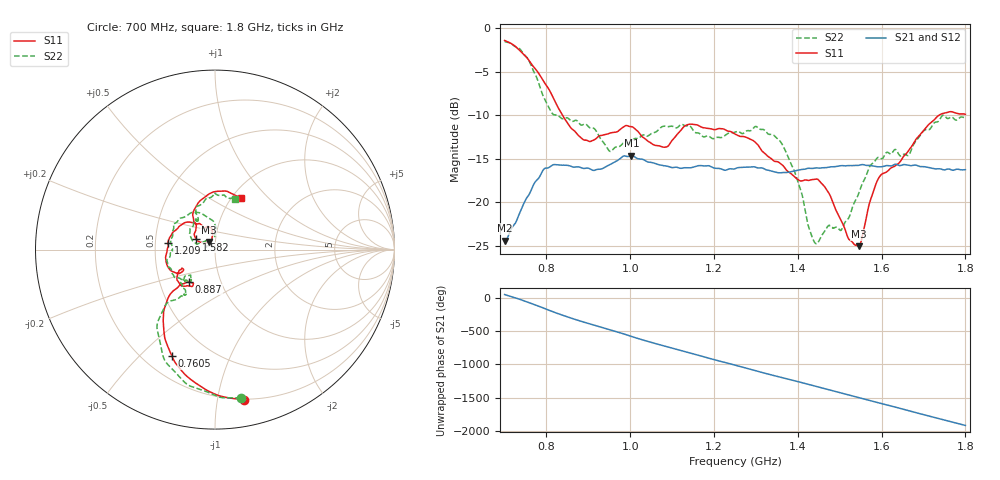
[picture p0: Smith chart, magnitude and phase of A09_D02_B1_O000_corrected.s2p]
! Created with skrf 1.9.0 (http://scikit-rf.org).
# Hz S RI R 50.0
!freq ReS11 ImS11 ReS21 ImS21 ReS12 ImS12 ReS22 ImS22
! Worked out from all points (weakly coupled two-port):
!   1601 points, 700 MHz to 1.8 GHz, reference 50 ohm
!   highest |S21| = -14.65 dB at 1.002 GHz (marker M1); lowest = -24.4 dB at 700 MHz (marker M2)
!   lowest |S11| = -25.1 dB at 1.545 GHz (marker M3), VSWR 1.12, Z = 46.4 + j3.96 ohm
!   |S11| at or under -10 dB: 838.1 MHz to 1.737 GHz (898.8 MHz wide, 69.8 % of centre)
!   |S22| runs from -24.8 to -1.5 dB; largest |S21 - S12| = 0.0035
!   S11 on the Smith chart (normalised r, x): 700 MHz: 0.20, -1.19; 760.5 MHz: 0.31, -0.63; 887 MHz: 0.71, -0.27; 1.209 GHz: 0.58, +0.05; 1.582 GHz: 0.81, +0.09; 1.8 GHz: 1.11, +0.70
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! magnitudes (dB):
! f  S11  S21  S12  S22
! 700 MHz  -1.4  -24.4  -24.2  -1.5
! 760.5 MHz  -3.9  -18.9  -18.8  -4.0
! 813.4 MHz  -7.7  -15.8  -15.8  -9.8
! 883.6 MHz  -12.6  -16.1  -16.0  -11.1
! 887 MHz  -12.8  -16.1  -16.0  -11.1
! 951.6 MHz  -12.1  -15.7  -15.7  -14.2
! 1.002 GHz  -11.3  -14.6  -14.8  -13.0
! 1.067 GHz  -13.5  -15.7  -15.6  -11.7
! 1.138 GHz  -11.1  -16.0  -16.0  -11.2
! 1.209 GHz  -11.6  -16.1  -16.1  -12.5
! 1.25 GHz  -12.2  -16.2  -16.1  -11.9
! 1.359 GHz  -15.6  -16.6  -16.6  -13.0
! 1.396 GHz  -17.3  -16.4  -16.4  -17.1
! 1.434 GHz  -17.4  -16.1  -16.1  -23.9
! 1.466 GHz  -18.3  -16.0  -16.0  -23.2
! 1.504 GHz  -22.1  -15.8  -15.8  -23.2
! 1.545 GHz  -25.1  -15.8  -15.7  -19.0
! 1.582 GHz  -18.5  -15.9  -15.9  -15.4
! 1.617 GHz  -16.3  -15.8  -15.8  -14.4
! 1.663 GHz  -14.1  -15.7  -15.7  -14.6
! 1.736 GHz  -10.0  -16.2  -16.2  -10.7
! 1.8 GHz  -9.9  -16.3  -16.3  -10.3
